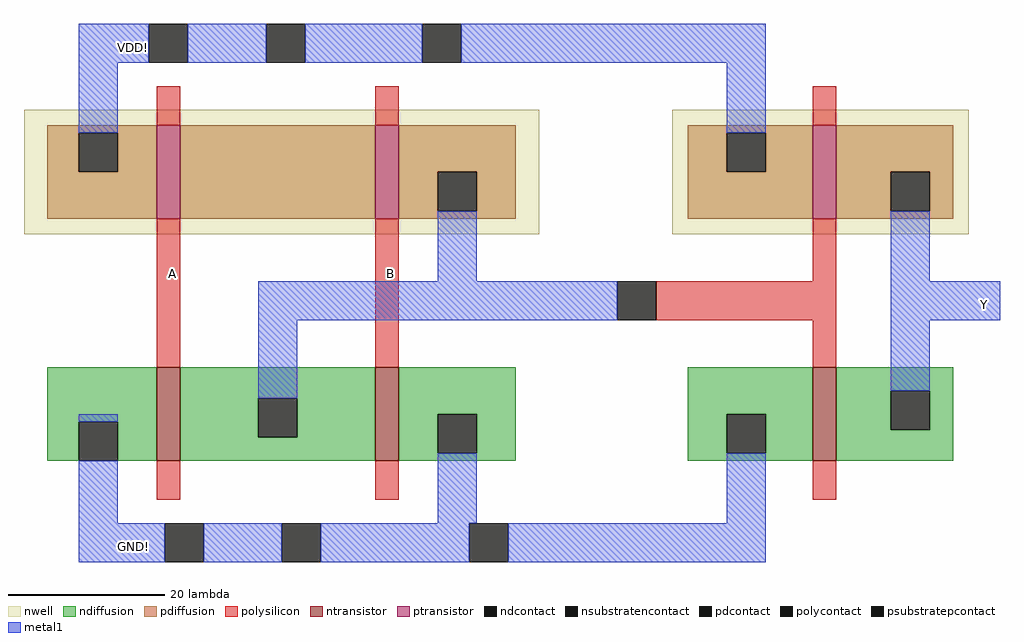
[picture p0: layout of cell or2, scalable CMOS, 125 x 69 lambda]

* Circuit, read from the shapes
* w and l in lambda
.subckt or2 A B GND! VDD! Y
M1 n1 A GND! GND! nfet w=12 l=3
M2 GND! B n1 GND! nfet w=12 l=3
M3 Y n1 GND! GND! nfet w=12 l=3
M4 n2 A VDD! n3 pfet w=12 l=3
M5 n1 B n2 n3 pfet w=12 l=3
M6 Y n1 VDD! n4 pfet w=12 l=3
.ends

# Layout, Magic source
magic
tech scmos
<< nwell >>
rect -16 -4 50 12
rect 67 -4 105 12
<< polysilicon >>
rect 1 10 4 15
rect 29 10 32 15
rect 85 10 88 15
rect 1 -21 4 -2
rect 29 -21 32 -2
rect 85 -10 88 -2
rect 65 -15 88 -10
rect 85 -21 88 -15
rect 1 -38 4 -33
rect 29 -38 32 -33
rect 85 -38 88 -33
<< ndiffusion >>
rect -13 -28 1 -21
rect -13 -33 -9 -28
rect -4 -33 1 -28
rect 4 -25 29 -21
rect 4 -30 14 -25
rect 19 -30 29 -25
rect 4 -33 29 -30
rect 32 -27 47 -21
rect 32 -32 37 -27
rect 42 -32 47 -27
rect 32 -33 47 -32
rect 69 -27 85 -21
rect 69 -32 74 -27
rect 79 -32 85 -27
rect 69 -33 85 -32
rect 88 -24 103 -21
rect 88 -29 95 -24
rect 100 -29 103 -24
rect 88 -33 103 -29
<< pdiffusion >>
rect -13 9 1 10
rect -13 4 -9 9
rect -4 4 1 9
rect -13 -2 1 4
rect 4 -2 29 10
rect 32 4 47 10
rect 32 -1 37 4
rect 42 -1 47 4
rect 32 -2 47 -1
rect 69 9 85 10
rect 69 4 74 9
rect 79 4 85 9
rect 69 -2 85 4
rect 88 4 103 10
rect 88 -1 95 4
rect 100 -1 103 4
rect 88 -2 103 -1
<< metal1 >>
rect -9 18 0 23
rect 5 18 15 23
rect 20 18 35 23
rect 40 18 79 23
rect -9 9 -4 18
rect 74 9 79 18
rect 37 -10 42 -1
rect 95 -10 100 -1
rect 14 -15 60 -10
rect 95 -15 109 -10
rect 14 -25 19 -15
rect -9 -28 -4 -27
rect 95 -24 100 -15
rect -9 -41 -4 -33
rect 37 -41 42 -32
rect 74 -41 79 -32
rect -9 -46 2 -41
rect 7 -46 17 -41
rect 22 -46 41 -41
rect 46 -46 79 -41
<< ntransistor >>
rect 1 -33 4 -21
rect 29 -33 32 -21
rect 85 -33 88 -21
<< ptransistor >>
rect 1 -2 4 10
rect 29 -2 32 10
rect 85 -2 88 10
<< polycontact >>
rect 60 -15 65 -10
<< ndcontact >>
rect -9 -33 -4 -28
rect 14 -30 19 -25
rect 37 -32 42 -27
rect 74 -32 79 -27
rect 95 -29 100 -24
<< pdcontact >>
rect -9 4 -4 9
rect 37 -1 42 4
rect 74 4 79 9
rect 95 -1 100 4
<< psubstratepcontact >>
rect 2 -46 7 -41
rect 17 -46 22 -41
rect 41 -46 46 -41
<< nsubstratencontact >>
rect 0 18 5 23
rect 15 18 20 23
rect 35 18 40 23
<< labels >>
rlabel metal1 -2 20 -2 20 5 VDD!
rlabel metal1 -2 -44 -2 -44 1 GND!
rlabel polysilicon 3 -9 3 -9 1 A
rlabel polysilicon 31 -9 31 -9 1 B
rlabel metal1 107 -13 107 -13 7 Y
<< end >>
